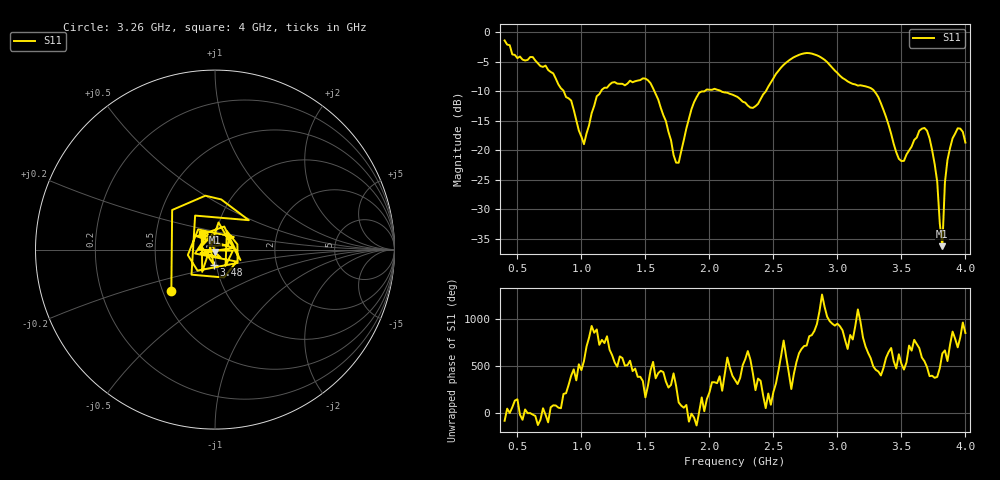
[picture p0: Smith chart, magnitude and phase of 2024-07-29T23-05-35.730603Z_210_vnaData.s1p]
!Created with skrf (http://scikit-rf.org).
# Hz S RI R 50.0
!freq ReS11 ImS11
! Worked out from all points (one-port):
!   181 points, 400 MHz to 4 GHz, reference 50 ohm
!   lowest |S11| = -36.3 dB at 3.82 GHz (marker M1), VSWR 1.03, Z = 50.1 - j1.54 ohm
!   |S11| at or under -10 dB: 1.57 GHz to 1.962 GHz (391.5 MHz wide, 22.2 % of centre); 2.092 GHz to 2.441 GHz (349.5 MHz wide, 15.4 % of centre); 3.289 GHz to end of sweep (the widest 3 of 4)
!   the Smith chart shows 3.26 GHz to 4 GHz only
!   S11 on the Smith chart (normalised r, x): 3.26 GHz: 0.55, -0.29; 3.48 GHz: 0.97, -0.16; 4 GHz: 0.85, +0.15
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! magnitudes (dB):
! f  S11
! 400 MHz  -1.4
! 500 MHz  -4.4
! 720 MHz  -5.6
! 860 MHz  -9.9
! 920 MHz  -11.6
! 1.02 GHz  -19.0
! 1.12 GHz  -10.8
! 1.3 GHz  -8.7
! 1.54 GHz  -8.6
! 1.76 GHz  -22.1
! 1.86 GHz  -13.0
! 1.92 GHz  -10.2
! 2.2 GHz  -10.8
! 2.34 GHz  -12.8
! 2.66 GHz  -4.2
! 2.84 GHz  -3.9
! 3.1 GHz  -8.6
! 3.26 GHz  -9.5
! 3.34 GHz  -12.1
! 3.48 GHz  -21.5
! 3.56 GHz  -20.0
! 3.7 GHz  -16.7
! 3.78 GHz  -25.4
! 3.82 GHz  -36.3
! 3.84 GHz  -25.5
! 3.88 GHz  -19.6
! 3.94 GHz  -16.3
! 4 GHz  -18.7
